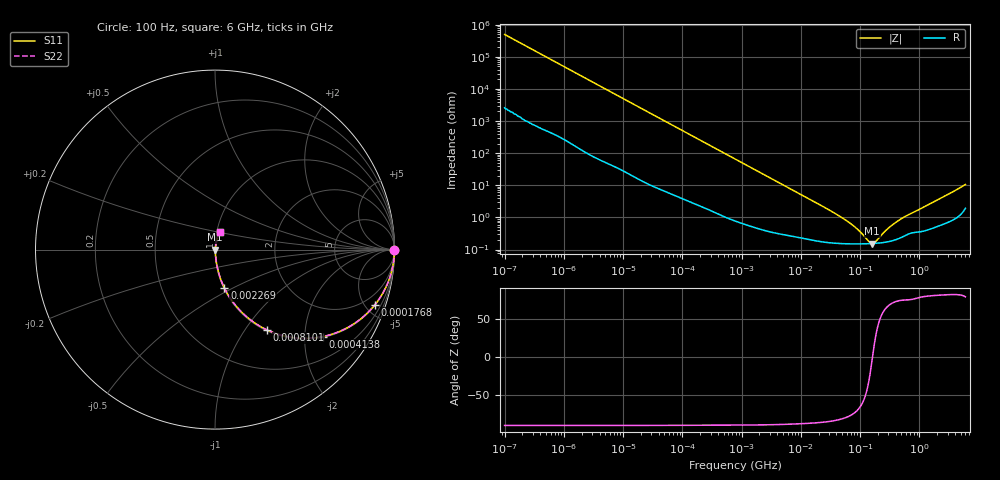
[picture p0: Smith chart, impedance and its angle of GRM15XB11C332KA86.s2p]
!Murata Part Number: GRM15XB11C332KA86
!These Parameters are Measured in Series Mode Connection
!Data Generated on Mar 30, 2021
!  o--ll--o
!Port1  Port2
!  o------o
!Operation Temp=25[degC], DC Bias Voltage=0[V]
!Freq. Start=100[Hz] Stop=6[GHz] 401[Steps]
# Hz S RI R 50
!Freq.(Hz) S11(Real) S11(Imag) S21(Real) S21(Imag) S12(Real) S12(Imag) S22(Real) S22(Imag)
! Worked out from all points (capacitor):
!   401 points, 100 Hz to 6 GHz, reference 50 ohm
!   read as one part in series: C = 3.21 nF near 109 Hz
!   lowest |Z| = 154 mohm at 159.6 MHz (marker M1)
!   series resonance near 162.1 MHz, so ESL is about 300 pH
!   S11 on the Smith chart (normalised r, x): 100 Hz: open; 176.8 kHz: 1.05, -5.75; 413.8 kHz: 1.02, -2.47; 810.1 kHz: 1.02, -1.26; 2.269 MHz: 1.01, -0.45; 6 GHz: 1.04, +0.21
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100  1 -0.000202  1.1e-06 0.000202  1.1e-06 0.000202  1 -0.000202
2008  1 -0.00402  3.61e-05 0.00402  3.61e-05 0.00402  1 -0.00402
12592  0.9992 -0.025  0.000768 0.025  0.000768 0.025  0.9992 -0.025
40335  0.9932 -0.0794  0.00684 0.0794  0.00684 0.0794  0.9932 -0.0794
86348  0.9706 -0.1654  0.0294 0.1654  0.0294 0.1654  0.9706 -0.1654
176758  0.8898 -0.3088  0.1102 0.3088  0.1102 0.3088  0.8898 -0.3088
264476  0.7852 -0.406  0.2148 0.406  0.2148 0.406  0.7852 -0.406
413847  0.6022 -0.4844  0.3978 0.4844  0.3978 0.4844  0.6022 -0.4844
774597  0.3061 -0.4551  0.6939 0.4551  0.6939 0.4551  0.3061 -0.4551
810067  0.2878 -0.4468  0.7122 0.4468  0.7122 0.4468  0.2878 -0.4468
1325623  0.134 -0.3336  0.866 0.3336  0.866 0.3336  0.134 -0.3336
2268635  0.0526 -0.2143  0.9474 0.2143  0.9474 0.2143  0.0526 -0.2143
5311619  0.0122 -0.0961  0.9878 0.0961  0.9878 0.0961  0.0122 -0.0961
1.555665e7  0.00308 -0.0334  0.9969 0.0334  0.9969 0.0334  0.00308 -0.0334
6.233367e7  0.00156 -0.00724  0.9984 0.00724  0.9984 0.00724  0.00156 -0.00724
9.326766e7  0.00151 -0.0038  0.9985 0.0038  0.9985 0.0038  0.00151 -0.0038
1.395531e8  0.00152 -0.000981  0.9985 0.000981  0.9985 0.000981  0.00152 -0.000981
1.596157e8  0.00154 -9.94e-05  0.9985 9.94e-05  0.9985 9.94e-05  0.00154 -9.94e-05
1.825626e8  0.00156 0.00078  0.9984 -0.00078  0.9984 -0.00078  0.00156 0.00078
3.124326e8  0.00181 0.00459  0.9982 -0.00459  0.9982 -0.00459  0.00181 0.00459
5.847788e8  0.00286 0.0105  0.9971 -0.0105  0.9971 -0.0105  0.00286 0.0105
6e9  0.029 0.0991  0.971 -0.0991  0.971 -0.0991  0.029 0.0991
